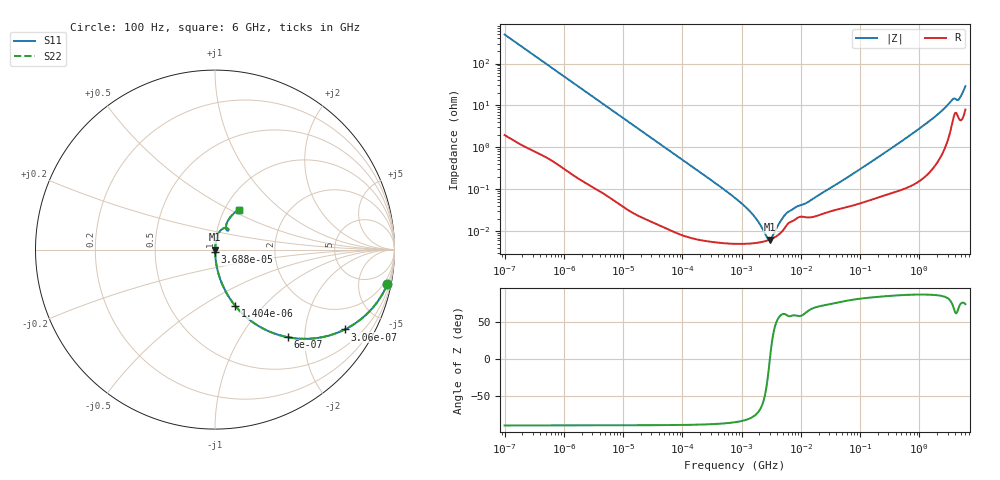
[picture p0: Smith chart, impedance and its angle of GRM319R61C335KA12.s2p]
!Murata Part Number: GRM319R61C335KA12
!These Parameters are Measured in Series Mode Connection
!Data Generated on Mar 30, 2021
!  o--ll--o
!Port1  Port2
!  o------o
!Operation Temp=25[degC], DC Bias Voltage=0[V]
!Freq. Start=100[Hz] Stop=6[GHz] 401[Steps]
# Hz S RI R 50
!Freq.(Hz) S11(Real) S11(Imag) S21(Real) S21(Imag) S12(Real) S12(Imag) S22(Real) S22(Imag)
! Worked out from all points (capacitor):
!   401 points, 100 Hz to 6 GHz, reference 50 ohm
!   read as one part in series: C = 3.22 uF near 109 Hz
!   lowest |Z| = 6.25 mohm at 2.968 MHz (marker M1)
!   series resonance near 3.006 MHz, so ESL is about 870 pH
!   S11 on the Smith chart (normalised r, x): 100 Hz: 1.04, -9.89; 306 Hz: 1.02, -3.24; 600 Hz: 1.01, -1.66; 1.404 kHz: 1.00, -0.71; 36.88 kHz: 1.00, -0.03; 6 GHz: 1.16, +0.55
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100  0.96 -0.194  0.04 0.194  0.04 0.194  0.96 -0.194
179  0.8834 -0.3188  0.1166 0.3188  0.1166 0.3188  0.8834 -0.3188
306  0.7228 -0.4451  0.2772 0.4451  0.2772 0.4451  0.7228 -0.4451
600  0.408 -0.4885  0.592 0.4885  0.592 0.4885  0.408 -0.4885
1404  0.1137 -0.3143  0.8863 0.3143  0.8863 0.3143  0.1137 -0.3143
2008  0.0596 -0.2335  0.9404 0.2335  0.9404 0.2335  0.0596 -0.2335
6433  0.00663 -0.0775  0.9934 0.0775  0.9934 0.0775  0.00663 -0.0775
36880  0.000335 -0.0137  0.9997 0.0137  0.9997 0.0137  0.000335 -0.0137
40335  0.000296 -0.0125  0.9997 0.0125  0.9997 0.0125  0.000296 -0.0125
774597  5e-05 -0.000618  1 0.000618  1 0.000618  5e-05 -0.000618
1449809  5.07e-05 -0.000272  0.9999 0.000272  0.9999 0.000272  5.07e-05 -0.000272
2372521  5.64e-05 -8.17e-05  0.9999 8.17e-05  0.9999 8.17e-05  5.64e-05 -8.17e-05
2967816  6.23e-05 -4.3e-06  0.9999 4.3e-06  0.9999 4.3e-06  6.23e-05 -4.3e-06
3712478  7.25e-05 7.34e-05  0.9999 -7.34e-05  0.9999 -7.34e-05  7.25e-05 7.34e-05
5079039  0.000107 0.00019  0.9999 -0.00019  0.9999 -0.00019  0.000107 0.00019
6075234  0.000151 0.000242  0.9998 -0.000242  0.9998 -0.000242  0.000151 0.000242
1.555665e7  0.000216 0.000531  0.9998 -0.000531  0.9998 -0.000531  0.000216 0.000531
3.124326e8  0.000849 0.00878  0.9992 -0.00878  0.9992 -0.00878  0.000849 0.00878
1.565993e9  0.00471 0.0446  0.9953 -0.0446  0.9953 -0.0446  0.00471 0.0446
3.505958e9  0.0455 0.1177  0.9545 -0.1177  0.9545 -0.1177  0.0455 0.1177
4.586474e9  0.0621 0.1138  0.9379 -0.1138  0.9379 -0.1138  0.0621 0.1138
6e9  0.131 0.2228  0.869 -0.2228  0.869 -0.2228  0.131 0.2228
